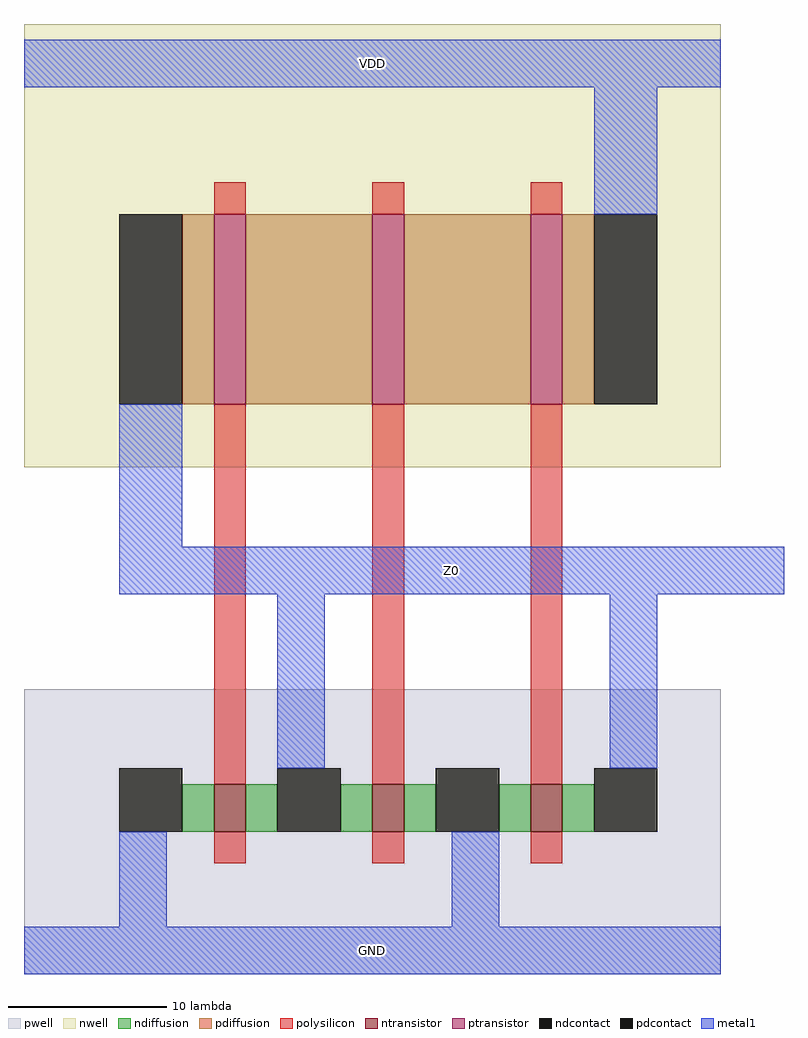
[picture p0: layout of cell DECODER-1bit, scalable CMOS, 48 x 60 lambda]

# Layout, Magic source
magic
tech scmos
<< pwell >>
rect 6 -38 50 -20
<< nwell >>
rect 6 -6 50 22
<< polysilicon >>
rect 18 10 20 12
rect 28 10 30 12
rect 38 10 40 12
rect 18 -26 20 -2
rect 28 -26 30 -2
rect 38 -26 40 -2
rect 18 -31 20 -29
rect 28 -31 30 -29
rect 38 -31 40 -29
<< ndiffusion >>
rect 16 -29 18 -26
rect 20 -29 22 -26
rect 26 -29 28 -26
rect 30 -29 32 -26
rect 36 -29 38 -26
rect 40 -29 42 -26
<< pdiffusion >>
rect 16 -2 18 10
rect 20 -2 28 10
rect 30 -2 38 10
rect 40 -2 42 10
<< metal1 >>
rect 6 18 50 21
rect 42 10 46 18
rect 12 -11 16 -2
rect 12 -14 54 -11
rect 22 -25 25 -14
rect 43 -25 46 -14
rect 12 -35 15 -29
rect 33 -35 36 -29
rect 6 -38 50 -35
<< ntransistor >>
rect 18 -29 20 -26
rect 28 -29 30 -26
rect 38 -29 40 -26
<< ptransistor >>
rect 18 -2 20 10
rect 28 -2 30 10
rect 38 -2 40 10
<< ndcontact >>
rect 12 -29 16 -25
rect 22 -29 26 -25
rect 32 -29 36 -25
rect 42 -29 46 -25
<< pdcontact >>
rect 12 -2 16 10
rect 42 -2 46 10
<< labels >>
rlabel metal1 6 -38 50 -35 5 GND
rlabel metal1 6 18 50 21 1 VDD
rlabel metal1 12 -14 54 -11 3 Z0
<< end >>
